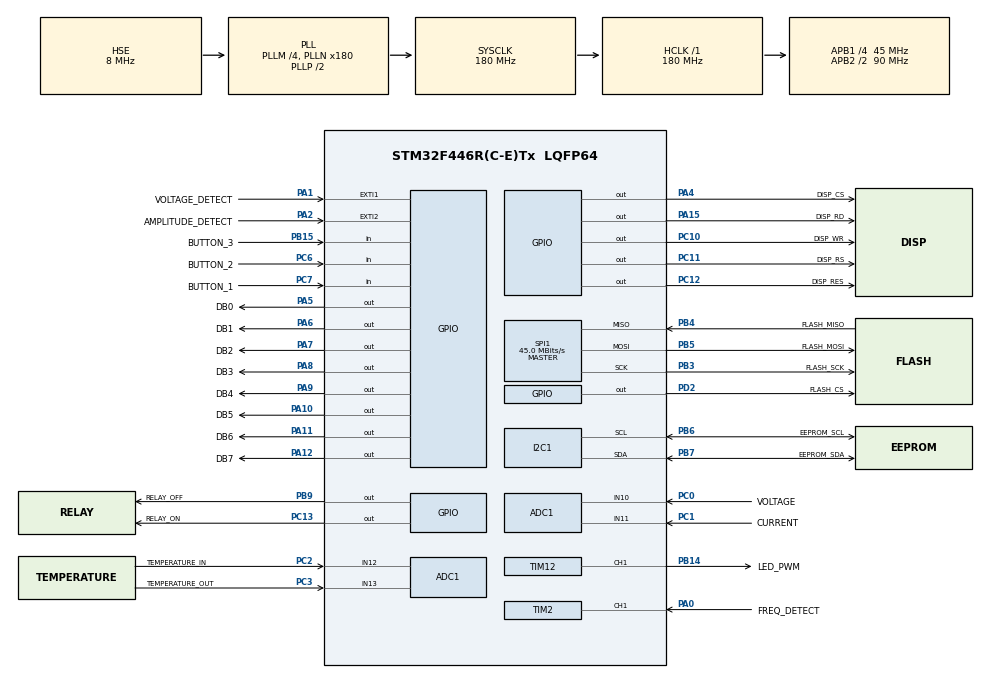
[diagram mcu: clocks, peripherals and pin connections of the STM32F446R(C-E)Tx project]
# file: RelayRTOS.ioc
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ADC1.Channel-0\#ChannelRegularConversion=ADC_CHANNEL_10
ADC1.Channel-1\#ChannelRegularConversion=ADC_CHANNEL_11
ADC1.Channel-2\#ChannelRegularConversion=ADC_CHANNEL_12
ADC1.Channel-3\#ChannelRegularConversion=ADC_CHANNEL_13
ADC1.Channel-4\#ChannelRegularConversion=ADC_CHANNEL_TEMPSENSOR
ADC1.ContinuousConvMode=ENABLE
ADC1.DMAContinuousRequests=ENABLE
ADC1.NbrOfConversion=5
ADC1.NbrOfConversionFlag=1
ADC1.Rank-0\#ChannelRegularConversion=1
ADC1.Rank-1\#ChannelRegularConversion=2
ADC1.Rank-2\#ChannelRegularConversion=3
ADC1.Rank-3\#ChannelRegularConversion=4
ADC1.Rank-4\#ChannelRegularConversion=5
ADC1.SamplingTime-0\#ChannelRegularConversion=ADC_SAMPLETIME_3CYCLES
ADC1.SamplingTime-1\#ChannelRegularConversion=ADC_SAMPLETIME_3CYCLES
ADC1.SamplingTime-2\#ChannelRegularConversion=ADC_SAMPLETIME_3CYCLES
ADC1.SamplingTime-3\#ChannelRegularConversion=ADC_SAMPLETIME_3CYCLES
ADC1.SamplingTime-4\#ChannelRegularConversion=ADC_SAMPLETIME_3CYCLES
ADC1.ScanConvMode=ENABLE
ADC1.master=1
Dma.ADC1.1.Direction=DMA_PERIPH_TO_MEMORY
Dma.ADC1.1.FIFOMode=DMA_FIFOMODE_DISABLE
Dma.ADC1.1.Instance=DMA2_Stream0
Dma.ADC1.1.MemDataAlignment=DMA_MDATAALIGN_HALFWORD
Dma.ADC1.1.MemInc=DMA_MINC_ENABLE
Dma.ADC1.1.Mode=DMA_CIRCULAR
Dma.ADC1.1.PeriphDataAlignment=DMA_PDATAALIGN_HALFWORD
Dma.ADC1.1.PeriphInc=DMA_PINC_DISABLE
Dma.ADC1.1.Priority=DMA_PRIORITY_MEDIUM
Dma.Request0=SPI1_RX
Dma.Request1=ADC1
Dma.SPI1_RX.0.Direction=DMA_PERIPH_TO_MEMORY
Dma.SPI1_RX.0.FIFOMode=DMA_FIFOMODE_DISABLE
Dma.SPI1_RX.0.Instance=DMA2_Stream2
Dma.SPI1_RX.0.MemDataAlignment=DMA_MDATAALIGN_BYTE
Dma.SPI1_RX.0.MemInc=DMA_MINC_ENABLE
Dma.SPI1_RX.0.Mode=DMA_NORMAL
Dma.SPI1_RX.0.PeriphDataAlignment=DMA_PDATAALIGN_BYTE
Dma.SPI1_RX.0.PeriphInc=DMA_PINC_DISABLE
Dma.SPI1_RX.0.Priority=DMA_PRIORITY_LOW
FREERTOS.Tasks01=initTask,24,128,StartInitTask,Default,NULL,Dynamic,NULL,NULL;adcTask,18,128,StartAdcCaptureTask,As external,NULL,Dynamic,NULL,NULL;relSCTask,24,128,StartRelayStateControlTask,As external,NULL,Dynamic,NULL,NULL;fftTask,17,128,StartFftTask,As external,NULL,Dynamic,NULL,NULL;relTask,26,128,StartRelayTask,As external,NULL,Dynamic,NULL,NULL;btnsTask,16,128,StartButtonsTask,As external,NULL,Dynamic,NULL,NULL;displTask,16,256,StartDisplayTask,As external,NULL,Dynamic,NULL,NULL;rtcTask,9,128,StartRtcTask,As external,NULL,Dynamic,NULL,NULL;flashTask,25,128,StartFlashTask,As external,NULL,Dynamic,NULL,NULL
FREERTOS.configCHECK_FOR_STACK_OVERFLOW=2
FREERTOS.configENABLE_FPU=1
FREERTOS.configMINIMAL_STACK_SIZE=128
Mcu.Family=STM32F4
Mcu.Name=STM32F446R(C-E)Tx
Mcu.Package=LQFP64
NVIC.DMA2_Stream0_IRQn=true\:7\:0\:true\:false\:true\:true\:false\:true
NVIC.DMA2_Stream2_IRQn=true\:8\:0\:true\:false\:true\:false\:false\:true
NVIC.EXTI1_IRQn=true\:7\:0\:true\:false\:true\:false\:true\:true
NVIC.EXTI2_IRQn=true\:7\:0\:true\:false\:true\:false\:true\:true
NVIC.PriorityGroup=NVIC_PRIORITYGROUP_4
NVIC.SPI1_IRQn=true\:8\:0\:true\:false\:true\:false\:true\:true
NVIC.TIM2_IRQn=true\:6\:0\:true\:false\:true\:false\:true\:true
NVIC.TIM5_IRQn=true\:5\:0\:true\:false\:true\:false\:true\:true
NVIC.TIM7_IRQn=true\:0\:0\:false\:false\:true\:false\:false\:true
NVIC.TimeBase=TIM7_IRQn
NVIC.TimeBaseIP=TIM7
PA0-WKUP.GPIO_Label=FREQ_DETECT
PA0-WKUP.GPIO_Speed=GPIO_SPEED_FREQ_VERY_HIGH
PA0-WKUP.Signal=S_TIM2_CH1_ETR
PA1.GPIO_Label=VOLTAGE_DETECT
PA1.GPIO_ModeDefaultEXTI=GPIO_MODE_IT_FALLING
PA1.Signal=GPXTI1
PA10.GPIO_Label=DB5
PA10.GPIO_Speed=GPIO_SPEED_FREQ_VERY_HIGH
PA10.Signal=GPIO_Output
PA11.GPIO_Label=DB6
PA11.GPIO_Speed=GPIO_SPEED_FREQ_VERY_HIGH
PA11.Signal=GPIO_Output
PA12.GPIO_Label=DB7
PA12.GPIO_Speed=GPIO_SPEED_FREQ_VERY_HIGH
PA12.Signal=GPIO_Output
PA13.Mode=Serial_Wire
PA13.Signal=SYS_JTMS-SWDIO
PA14.Mode=Serial_Wire
PA14.Signal=SYS_JTCK-SWCLK
PA15.GPIO_Label=DISP_RD
PA15.GPIO_Speed=GPIO_SPEED_FREQ_VERY_HIGH
PA15.Signal=GPIO_Output
PA2.GPIO_Label=AMPLITUDE_DETECT
PA2.GPIO_ModeDefaultEXTI=GPIO_MODE_IT_FALLING
PA2.Signal=GPXTI2
PA4.GPIO_Label=DISP_CS
PA4.GPIO_Speed=GPIO_SPEED_FREQ_VERY_HIGH
PA4.Signal=GPIO_Output
PA5.GPIO_Label=DB0
PA5.GPIO_Speed=GPIO_SPEED_FREQ_VERY_HIGH
PA5.Signal=GPIO_Output
PA6.GPIO_Label=DB1
PA6.GPIO_Speed=GPIO_SPEED_FREQ_VERY_HIGH
PA6.Signal=GPIO_Output
PA7.GPIO_Label=DB2
PA7.GPIO_Speed=GPIO_SPEED_FREQ_VERY_HIGH
PA7.Signal=GPIO_Output
PA8.GPIO_Label=DB3
PA8.GPIO_Speed=GPIO_SPEED_FREQ_VERY_HIGH
PA8.Signal=GPIO_Output
PA9.GPIO_Label=DB4
PA9.GPIO_Speed=GPIO_SPEED_FREQ_VERY_HIGH
PA9.Signal=GPIO_Output
PB14.GPIO_Label=LED_PWM
PB14.GPIO_Speed=GPIO_SPEED_FREQ_VERY_HIGH
PB14.Signal=S_TIM12_CH1
PB15.GPIO_Label=BUTTON_3
PB15.Signal=GPIO_Input
PB3.GPIO_Label=FLASH_SCK
PB3.Mode=Full_Duplex_Master
PB3.Signal=SPI1_SCK
PB4.GPIO_Label=FLASH_MISO
PB4.Mode=Full_Duplex_Master
PB4.Signal=SPI1_MISO
PB5.GPIO_Label=FLASH_MOSI
PB5.Mode=Full_Duplex_Master
PB5.Signal=SPI1_MOSI
PB6.GPIO_Label=EEPROM_SCL
PB6.Mode=I2C
PB6.Signal=I2C1_SCL
PB7.GPIO_Label=EEPROM_SDA
PB7.Mode=I2C
PB7.Signal=I2C1_SDA
PB9.GPIO_Label=RELAY_OFF
PB9.GPIO_Speed=GPIO_SPEED_FREQ_VERY_HIGH
PB9.Signal=GPIO_Output
PC0.GPIO_Label=VOLTAGE
PC0.Signal=ADCx_IN10
PC1.GPIO_Label=CURRENT
PC1.Signal=ADCx_IN11
PC10.GPIO_Label=DISP_WR
PC10.GPIO_Speed=GPIO_SPEED_FREQ_VERY_HIGH
PC10.Signal=GPIO_Output
PC11.GPIO_Label=DISP_RS
PC11.GPIO_Speed=GPIO_SPEED_FREQ_VERY_HIGH
PC11.Signal=GPIO_Output
PC12.GPIO_Label=DISP_RES
PC12.GPIO_Speed=GPIO_SPEED_FREQ_VERY_HIGH
PC12.Signal=GPIO_Output
PC13.GPIO_Label=RELAY_ON
PC13.GPIO_Speed=GPIO_SPEED_FREQ_LOW
PC13.Signal=GPIO_Output
PC14-OSC32_IN.Mode=LSE-External-Oscillator
PC14-OSC32_IN.Signal=RCC_OSC32_IN
PC15-OSC32_OUT.Mode=LSE-External-Oscillator
PC15-OSC32_OUT.Signal=RCC_OSC32_OUT
PC2.GPIO_Label=TEMPERATURE_IN
PC2.Signal=ADCx_IN12
PC3.GPIO_Label=TEMPERATURE_OUT
PC3.Signal=ADCx_IN13
PC6.GPIO_Label=BUTTON_2
PC6.Signal=GPIO_Input
PC7.GPIO_Label=BUTTON_1
PC7.Signal=GPIO_Input
PD2.GPIO_Label=FLASH_CS
PD2.GPIO_Speed=GPIO_SPEED_FREQ_VERY_HIGH
PD2.Signal=GPIO_Output
PH0-OSC_IN.Mode=HSE-External-Oscillator
PH0-OSC_IN.Signal=RCC_OSC_IN
PH1-OSC_OUT.Mode=HSE-External-Oscillator
PH1-OSC_OUT.Signal=RCC_OSC_OUT
ProjectManager.HeapSize=0x200
ProjectManager.StackSize=0x400
ProjectManager.TargetToolchain=Other Toolchains (GPDSC)
RCC.AHBFreq_Value=180000000
RCC.APB1CLKDivider=RCC_HCLK_DIV4
RCC.APB1Freq_Value=45000000
RCC.APB1TimFreq_Value=90000000
RCC.APB2CLKDivider=RCC_HCLK_DIV2
RCC.APB2Freq_Value=90000000
RCC.APB2TimFreq_Value=180000000
RCC.CortexFreq_Value=180000000
RCC.DATA_CACHE_ENABLE=1
RCC.HCLKFreq_Value=180000000
RCC.HSE_VALUE=8000000
RCC.INSTRUCTION_CACHE_ENABLE=1
RCC.PLLM=4
RCC.PLLN=180
RCC.PLLSourceVirtual=RCC_PLLSOURCE_HSE
RCC.PREFETCH_ENABLE=1
RCC.RCC_RTC_Clock_SourceVirtual=RCC_RTCCLKSOURCE_LSE
RCC.SYSCLKFreq_VALUE=180000000
RCC.SYSCLKSource=RCC_SYSCLKSOURCE_PLLCLK
RCC.USBFreq_Value=180000000
RCC.VCOOutputFreq_Value=360000000
SH.ADCx_IN10.0=ADC1_IN10,IN10
SH.ADCx_IN11.0=ADC1_IN11,IN11
SH.ADCx_IN12.0=ADC1_IN12,IN12
SH.ADCx_IN13.0=ADC1_IN13,IN13
SH.S_TIM12_CH1.0=TIM12_CH1,PWM Generation1 CH1
SH.S_TIM2_CH1_ETR.0=TIM2_CH1,Input_Capture1_from_TI1
SPI1.CalculateBaudRate=45.0 MBits/s
SPI1.Direction=SPI_DIRECTION_2LINES
SPI1.Mode=SPI_MODE_MASTER
SPI1.VirtualType=VM_MASTER
TIM12.Channel-PWM\ Generation1\ CH1=TIM_CHANNEL_1
TIM12.ClockDivision=TIM_CLOCKDIVISION_DIV1
TIM12.Period=99
TIM12.Prescaler=4499
TIM2.Channel-Input_Capture1_from_TI1=TIM_CHANNEL_1
TIM2.ICFilter_CH1=2
TIM2.ICPolarity_CH1=TIM_INPUTCHANNELPOLARITY_BOTHEDGE
VP_ADC1_TempSens_Input.Mode=IN-TempSens
VP_FREERTOS_VS_CMSIS_V2.Mode=CMSIS_V2
VP_RTC_VS_RTC_Activate.Mode=RTC_Enabled
VP_SYS_VS_tim7.Mode=TIM7
VP_TIM12_VS_ClockSourceINT.Mode=Internal
VP_TIM2_VS_ClockSourceINT.Mode=Internal
VP_TIM5_VS_ClockSourceINT.Mode=Internal
board=custom

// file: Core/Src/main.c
/* USER CODE BEGIN Header */
/**
  ******************************************************************************
  * @file           : main.c
  * @brief          : Main program body
  ******************************************************************************
  * @attention
  *
  * <h2><center>&copy; Copyright (c) 2020 STMicroelectronics.
  * All rights reserved.</center></h2>
  *
  * This software component is licensed by ST under Ultimate Liberty license
  * SLA0044, the "License"; You may not use this file except in compliance with
  * the License. You may obtain a copy of the License at:
  *                             www.st.com/SLA0044
  *
  ******************************************************************************
  */
/* USER CODE END Header */
#include "main.h"
#include "cmsis_os.h"
#include "adc.h"
#include "dma.h"
#include "i2c.h"
#include "rtc.h"
#include "spi.h"
#include "tim.h"
#include "gpio.h"

/* USER CODE BEGIN Includes */
#include "interrupts.h"
#include "settings.h"
/* USER CODE END Includes */

/* USER CODE BEGIN PV */
general_t general;
/* USER CODE END PV */

void SystemClock_Config(void);
void MX_FREERTOS_Init(void);

int main(void)
{

  /* MCU Configuration--------------------------------------------------------*/

  /* Reset of all peripherals, Initializes the Flash interface and the Systick. */
  HAL_Init();

  /* Configure the system clock */
  SystemClock_Config();

  /* Initialize all configured peripherals */
  MX_GPIO_Init();
  MX_DMA_Init();
  MX_ADC1_Init();
  MX_TIM2_Init();
  MX_SPI1_Init();
  MX_TIM12_Init();
  MX_I2C1_Init();
  MX_RTC_Init();
  MX_TIM5_Init();
  /* USER CODE BEGIN 2 */
  resetSettings();
  /* USER CODE END 2 */

  /* Init scheduler */
  osKernelInitialize();  /* Call init function for freertos objects (in freertos.c) */
  MX_FREERTOS_Init();
  /* Start scheduler */
  osKernelStart();

  /* We should never get here as control is now taken by the scheduler */
  /* Infinite loop */
  while (1)
  {

  }
}

void SystemClock_Config(void)
{
  RCC_OscInitTypeDef RCC_OscInitStruct = {0};
  RCC_ClkInitTypeDef RCC_ClkInitStruct = {0};
  RCC_PeriphCLKInitTypeDef PeriphClkInitStruct = {0};

  /** Configure the main internal regulator output voltage
  */
  __HAL_RCC_PWR_CLK_ENABLE();
  __HAL_PWR_VOLTAGESCALING_CONFIG(PWR_REGULATOR_VOLTAGE_SCALE1);
  /** Initializes the RCC Oscillators according to the specified parameters
  * in the RCC_OscInitTypeDef structure.
  */
  RCC_OscInitStruct.OscillatorType = RCC_OSCILLATORTYPE_HSE|RCC_OSCILLATORTYPE_LSE;
  RCC_OscInitStruct.HSEState = RCC_HSE_ON;
  RCC_OscInitStruct.LSEState = RCC_LSE_ON;
  RCC_OscInitStruct.PLL.PLLState = RCC_PLL_ON;
  RCC_OscInitStruct.PLL.PLLSource = RCC_PLLSOURCE_HSE;
  RCC_OscInitStruct.PLL.PLLM = 4;
  RCC_OscInitStruct.PLL.PLLN = 180;
  RCC_OscInitStruct.PLL.PLLP = RCC_PLLP_DIV2;
  RCC_OscInitStruct.PLL.PLLQ = 2;
  RCC_OscInitStruct.PLL.PLLR = 2;
  if (HAL_RCC_OscConfig(&RCC_OscInitStruct) != HAL_OK)
  {
    Error_Handler();
  }
  /** Activate the Over-Drive mode
  */
  if (HAL_PWREx_EnableOverDrive() != HAL_OK)
  {
    Error_Handler();
  }
  /** Initializes the CPU, AHB and APB buses clocks
  */
  RCC_ClkInitStruct.ClockType = RCC_CLOCKTYPE_HCLK|RCC_CLOCKTYPE_SYSCLK
                              |RCC_CLOCKTYPE_PCLK1|RCC_CLOCKTYPE_PCLK2;
  RCC_ClkInitStruct.SYSCLKSource = RCC_SYSCLKSOURCE_PLLCLK;
  RCC_ClkInitStruct.AHBCLKDivider = RCC_SYSCLK_DIV1;
  RCC_ClkInitStruct.APB1CLKDivider = RCC_HCLK_DIV4;
  RCC_ClkInitStruct.APB2CLKDivider = RCC_HCLK_DIV2;

  if (HAL_RCC_ClockConfig(&RCC_ClkInitStruct, FLASH_LATENCY_5) != HAL_OK)
  {
    Error_Handler();
  }
  PeriphClkInitStruct.PeriphClockSelection = RCC_PERIPHCLK_RTC;
  PeriphClkInitStruct.RTCClockSelection = RCC_RTCCLKSOURCE_LSE;
  if (HAL_RCCEx_PeriphCLKConfig(&PeriphClkInitStruct) != HAL_OK)
  {
    Error_Handler();
  }
}

void HAL_TIM_PeriodElapsedCallback(TIM_HandleTypeDef *htim)
{
  if (htim->Instance == TIM7) {
    HAL_IncTick();
  }
  /* USER CODE BEGIN Callback 1 */
  MEASURE_TIM_PeriodElapsedCallback(htim);
  /* USER CODE END Callback 1 */
}

void Error_Handler(void)
{
  /* USER CODE BEGIN Error_Handler_Debug */
  /* User can add his own implementation to report the HAL error return state */
  __asm("BKPT #0");
  /* USER CODE END Error_Handler_Debug */
}

/************************ (C) COPYRIGHT STMicroelectronics *****END OF FILE****/

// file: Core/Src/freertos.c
/* USER CODE BEGIN Header */
/**
  ******************************************************************************
  * File Name          : freertos.c
  * Description        : Code for freertos applications
  ******************************************************************************
  * @attention
  *
  * <h2><center>&copy; Copyright (c) 2020 STMicroelectronics.
  * All rights reserved.</center></h2>
  *
  * This software component is licensed by ST under Ultimate Liberty license
  * SLA0044, the "License"; You may not use this file except in compliance with
  * the License. You may obtain a copy of the License at:
  *                             www.st.com/SLA0044
  *
  ******************************************************************************
  */
/* USER CODE END Header */

#include "FreeRTOS.h"
#include "task.h"
#include "main.h"
#include "cmsis_os.h"

/* USER CODE BEGIN Includes */
#include "tasks.h"
#include "display.h"
#include "colors.h"
#include <stdlib.h>
/* USER CODE END Includes */

/* Definitions for initTask */
osThreadId_t initTaskHandle;
const osThreadAttr_t initTask_attributes = {
  .name = "initTask",
  .priority = (osPriority_t) osPriorityNormal,
  .stack_size = 128 * 4
};
/* Definitions for adcTask */
osThreadId_t adcTaskHandle;
const osThreadAttr_t adcTask_attributes = {
  .name = "adcTask",
  .priority = (osPriority_t) osPriorityBelowNormal2,
  .stack_size = 128 * 4
};
/* Definitions for relSCTask */
osThreadId_t relSCTaskHandle;
const osThreadAttr_t relSCTask_attributes = {
  .name = "relSCTask",
  .priority = (osPriority_t) osPriorityNormal,
  .stack_size = 128 * 4
};
/* Definitions for fftTask */
osThreadId_t fftTaskHandle;
const osThreadAttr_t fftTask_attributes = {
  .name = "fftTask",
  .priority = (osPriority_t) osPriorityBelowNormal1,
  .stack_size = 128 * 4
};
/* Definitions for relTask */
osThreadId_t relTaskHandle;
const osThreadAttr_t relTask_attributes = {
  .name = "relTask",
  .priority = (osPriority_t) osPriorityNormal2,
  .stack_size = 128 * 4
};
/* Definitions for btnsTask */
osThreadId_t btnsTaskHandle;
const osThreadAttr_t btnsTask_attributes = {
  .name = "btnsTask",
  .priority = (osPriority_t) osPriorityBelowNormal,
  .stack_size = 128 * 4
};
/* Definitions for displTask */
osThreadId_t displTaskHandle;
const osThreadAttr_t displTask_attributes = {
  .name = "displTask",
  .priority = (osPriority_t) osPriorityBelowNormal,
  .stack_size = 256 * 4
};
/* Definitions for rtcTask */
osThreadId_t rtcTaskHandle;
const osThreadAttr_t rtcTask_attributes = {
  .name = "rtcTask",
  .priority = (osPriority_t) osPriorityLow1,
  .stack_size = 128 * 4
};
/* Definitions for flashTask */
osThreadId_t flashTaskHandle;
const osThreadAttr_t flashTask_attributes = {
  .name = "flashTask",
  .priority = (osPriority_t) osPriorityNormal1,
  .stack_size = 128 * 4
};

void StartInitTask(void *argument);
extern void StartAdcCaptureTask(void *argument);
extern void StartRelayStateControlTask(void *argument);
extern void StartFftTask(void *argument);
extern void StartRelayTask(void *argument);
extern void StartButtonsTask(void *argument);
extern void StartDisplayTask(void *argument);
extern void StartRtcTask(void *argument);
extern void StartFlashTask(void *argument);

void MX_FREERTOS_Init(void); /* (MISRA C 2004 rule 8.1) */

/* Hook prototypes */
void vApplicationStackOverflowHook(xTaskHandle xTask, signed char *pcTaskName);

/* USER CODE BEGIN 4 */
void vApplicationStackOverflowHook(xTaskHandle xTask, signed char *pcTaskName) {
  static TaskHandle_t lastOfTask = NULL;
  static wchar_t wcharBuf[configMAX_TASK_NAME_LEN];
  static uint8_t strLength;
  static uint8_t lastPos = 0;
  if (lastOfTask != xTask) {
    lastOfTask = xTask;
    strLength = mbstowcs(wcharBuf, (const char *)pcTaskName, configMAX_TASK_NAME_LEN);
    if (lastPos >= DISPLAY_WIDTH)
      lastPos = 0;
    SetCSLow();
    lastPos += DrawUTF8String(lastPos, 86, wcharBuf, strLength, 1, 0, redColor, &arialBlack_8ptFontInfo, TextAlignLeft) + 1;
    SetCSHigh();
  }
}
/* USER CODE END 4 */

void MX_FREERTOS_Init(void) {

  /* Create the thread(s) */
  /* creation of initTask */
  initTaskHandle = osThreadNew(StartInitTask, NULL, &initTask_attributes);

  /* creation of adcTask */
  adcTaskHandle = osThreadNew(StartAdcCaptureTask, NULL, &adcTask_attributes);

  /* creation of relSCTask */
  relSCTaskHandle = osThreadNew(StartRelayStateControlTask, NULL, &relSCTask_attributes);

  /* creation of fftTask */
  fftTaskHandle = osThreadNew(StartFftTask, NULL, &fftTask_attributes);

  /* creation of relTask */
  relTaskHandle = osThreadNew(StartRelayTask, NULL, &relTask_attributes);

  /* creation of btnsTask */
  btnsTaskHandle = osThreadNew(StartButtonsTask, NULL, &btnsTask_attributes);

  /* creation of displTask */
  displTaskHandle = osThreadNew(StartDisplayTask, NULL, &displTask_attributes);

  /* creation of rtcTask */
  rtcTaskHandle = osThreadNew(StartRtcTask, NULL, &rtcTask_attributes);

  /* creation of flashTask */
  flashTaskHandle = osThreadNew(StartFlashTask, NULL, &flashTask_attributes);

}

void StartInitTask(void *argument)
{
  /* USER CODE BEGIN StartInitTask */
  /* Infinite loop */
  for(;;)
  {
    osDelay(1);
    vTaskDelete(NULL);
  }
  /* USER CODE END StartInitTask */
}

/************************ (C) COPYRIGHT STMicroelectronics *****END OF FILE****/
